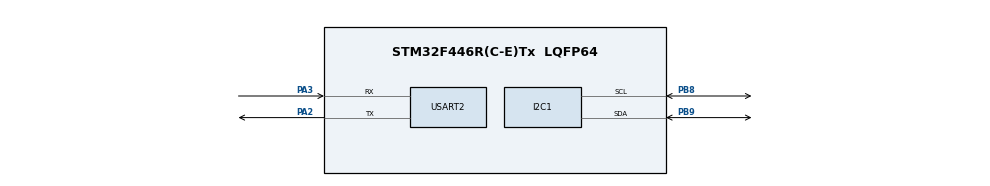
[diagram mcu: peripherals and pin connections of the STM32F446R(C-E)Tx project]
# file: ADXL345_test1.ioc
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Mcu.Family=STM32F4
Mcu.Name=STM32F446R(C-E)Tx
Mcu.Package=LQFP64
NVIC.PriorityGroup=NVIC_PRIORITYGROUP_4
PA2.Mode=Asynchronous
PA2.Signal=USART2_TX
PA3.Mode=Asynchronous
PA3.Signal=USART2_RX
PB8.Mode=I2C
PB8.Signal=I2C1_SCL
PB9.Mode=I2C
PB9.Signal=I2C1_SDA
ProjectManager.HeapSize=0x200
ProjectManager.StackSize=0x400
ProjectManager.TargetToolchain=STM32CubeIDE
RCC.CortexFreq_Value=16000000
RCC.USBFreq_Value=96000000
RCC.VCOOutputFreq_Value=192000000
USART2.VirtualMode=VM_ASYNC
board=custom

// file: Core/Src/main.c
/* USER CODE BEGIN Header */
/**
  ******************************************************************************
  * @file           : main.c
  * @brief          : Main program body
  ******************************************************************************
  * @attention
  *
  * Copyright (c) 2025 STMicroelectronics.
  * All rights reserved.
  *
  * This software is licensed under terms that can be found in the LICENSE file
  * in the root directory of this software component.
  * If no LICENSE file comes with this software, it is provided AS-IS.
  *
  ******************************************************************************
  */
/* USER CODE END Header */
#include "main.h"
#include "stdio.h"
#include <string.h>

/* USER CODE BEGIN PD */

#define ADXL345_ADDR       (0x53 << 1)  // 注意：I2C位址左移1位（因為HAL使用8位元格式）
#define ADXL345_DEVID_REG  0x00
#define ADXL345_POWER_CTL  0x2D
#define ADXL345_DATAX0     0x32

/* USER CODE END PD */

I2C_HandleTypeDef hi2c1;

UART_HandleTypeDef huart2;

/* USER CODE BEGIN PV */

int16_t ax, ay, az;
float gx, gy, gz;
char msg[64];

/* USER CODE END PV */

void SystemClock_Config(void);
static void MX_GPIO_Init(void);
static void MX_I2C1_Init(void);
static void MX_USART2_UART_Init(void);

/* USER CODE BEGIN 0 */

void ADXL345_Init(I2C_HandleTypeDef *hi2c) {
    uint8_t data;

    // 確認 device ID 是否正確（應為 0xE5）
    HAL_I2C_Mem_Read(hi2c, ADXL345_ADDR, ADXL345_DEVID_REG, I2C_MEMADD_SIZE_8BIT, &data, 1, HAL_MAX_DELAY);
    if (data != 0xE5) {
        // 錯誤處理
    }

    // 開啟測量模式（將 POWER_CTL 的 bit3 設為 1）
    data = 0x08;
    HAL_I2C_Mem_Write(hi2c, ADXL345_ADDR, ADXL345_POWER_CTL, I2C_MEMADD_SIZE_8BIT, &data, 1, HAL_MAX_DELAY);
}

void ADXL345_ReadXYZ(I2C_HandleTypeDef *hi2c, int16_t *x, int16_t *y, int16_t *z) {
    uint8_t buffer[6];
    HAL_I2C_Mem_Read(hi2c, ADXL345_ADDR, ADXL345_DATAX0, I2C_MEMADD_SIZE_8BIT, buffer, 6, HAL_MAX_DELAY);
    *x = (int16_t)(buffer[1] << 8 | buffer[0]);
    *y = (int16_t)(buffer[3] << 8 | buffer[2]);
    *z = (int16_t)(buffer[5] << 8 | buffer[4]);
}

/* USER CODE END 0 */

int main(void)
{

  /* MCU Configuration--------------------------------------------------------*/

  /* Reset of all peripherals, Initializes the Flash interface and the Systick. */
  HAL_Init();

  /* Configure the system clock */
  SystemClock_Config();

  /* Initialize all configured peripherals */
  MX_GPIO_Init();
  MX_I2C1_Init();
  MX_USART2_UART_Init();
  /* USER CODE BEGIN 2 */

  ADXL345_Init(&hi2c1);

  /* USER CODE END 2 */

  /* Infinite loop */
  while (1)
  {

    /* USER CODE BEGIN 3 */

	ADXL345_ReadXYZ(&hi2c1, &ax, &ay, &az);
	gx = ax / 256.0;
	gy = ay / 256.0;
	gz = az / 256.0;
	int len = sprintf(msg, "Hello: %d,%d,%d\r\n", ax, ay, az);
	HAL_UART_Transmit(&huart2, (uint8_t*)msg, len, HAL_MAX_DELAY);
	HAL_Delay(500);  // 0.5秒更新一次
  }
  /* USER CODE END 3 */
}

void SystemClock_Config(void)
{
  RCC_OscInitTypeDef RCC_OscInitStruct = {0};
  RCC_ClkInitTypeDef RCC_ClkInitStruct = {0};

  /** Configure the main internal regulator output voltage
  */
  __HAL_RCC_PWR_CLK_ENABLE();
  __HAL_PWR_VOLTAGESCALING_CONFIG(PWR_REGULATOR_VOLTAGE_SCALE3);

  /** Initializes the RCC Oscillators according to the specified parameters
  * in the RCC_OscInitTypeDef structure.
  */
  RCC_OscInitStruct.OscillatorType = RCC_OSCILLATORTYPE_HSI;
  RCC_OscInitStruct.HSIState = RCC_HSI_ON;
  RCC_OscInitStruct.HSICalibrationValue = RCC_HSICALIBRATION_DEFAULT;
  RCC_OscInitStruct.PLL.PLLState = RCC_PLL_NONE;
  if (HAL_RCC_OscConfig(&RCC_OscInitStruct) != HAL_OK)
  {
    Error_Handler();
  }

  /** Initializes the CPU, AHB and APB buses clocks
  */
  RCC_ClkInitStruct.ClockType = RCC_CLOCKTYPE_HCLK|RCC_CLOCKTYPE_SYSCLK
                              |RCC_CLOCKTYPE_PCLK1|RCC_CLOCKTYPE_PCLK2;
  RCC_ClkInitStruct.SYSCLKSource = RCC_SYSCLKSOURCE_HSI;
  RCC_ClkInitStruct.AHBCLKDivider = RCC_SYSCLK_DIV1;
  RCC_ClkInitStruct.APB1CLKDivider = RCC_HCLK_DIV1;
  RCC_ClkInitStruct.APB2CLKDivider = RCC_HCLK_DIV1;

  if (HAL_RCC_ClockConfig(&RCC_ClkInitStruct, FLASH_LATENCY_0) != HAL_OK)
  {
    Error_Handler();
  }
}

static void MX_I2C1_Init(void)
{

  hi2c1.Instance = I2C1;
  hi2c1.Init.ClockSpeed = 100000;
  hi2c1.Init.DutyCycle = I2C_DUTYCYCLE_2;
  hi2c1.Init.OwnAddress1 = 0;
  hi2c1.Init.AddressingMode = I2C_ADDRESSINGMODE_7BIT;
  hi2c1.Init.DualAddressMode = I2C_DUALADDRESS_DISABLE;
  hi2c1.Init.OwnAddress2 = 0;
  hi2c1.Init.GeneralCallMode = I2C_GENERALCALL_DISABLE;
  hi2c1.Init.NoStretchMode = I2C_NOSTRETCH_DISABLE;
  if (HAL_I2C_Init(&hi2c1) != HAL_OK)
  {
    Error_Handler();
  }

}

static void MX_USART2_UART_Init(void)
{

  huart2.Instance = USART2;
  huart2.Init.BaudRate = 115200;
  huart2.Init.WordLength = UART_WORDLENGTH_8B;
  huart2.Init.StopBits = UART_STOPBITS_1;
  huart2.Init.Parity = UART_PARITY_NONE;
  huart2.Init.Mode = UART_MODE_TX_RX;
  huart2.Init.HwFlowCtl = UART_HWCONTROL_NONE;
  huart2.Init.OverSampling = UART_OVERSAMPLING_16;
  if (HAL_UART_Init(&huart2) != HAL_OK)
  {
    Error_Handler();
  }

}

static void MX_GPIO_Init(void)
{

  /* GPIO Ports Clock Enable */
  __HAL_RCC_GPIOA_CLK_ENABLE();
  __HAL_RCC_GPIOB_CLK_ENABLE();

}

void Error_Handler(void)
{
  __disable_irq();
  while (1)
  {
  }
}
